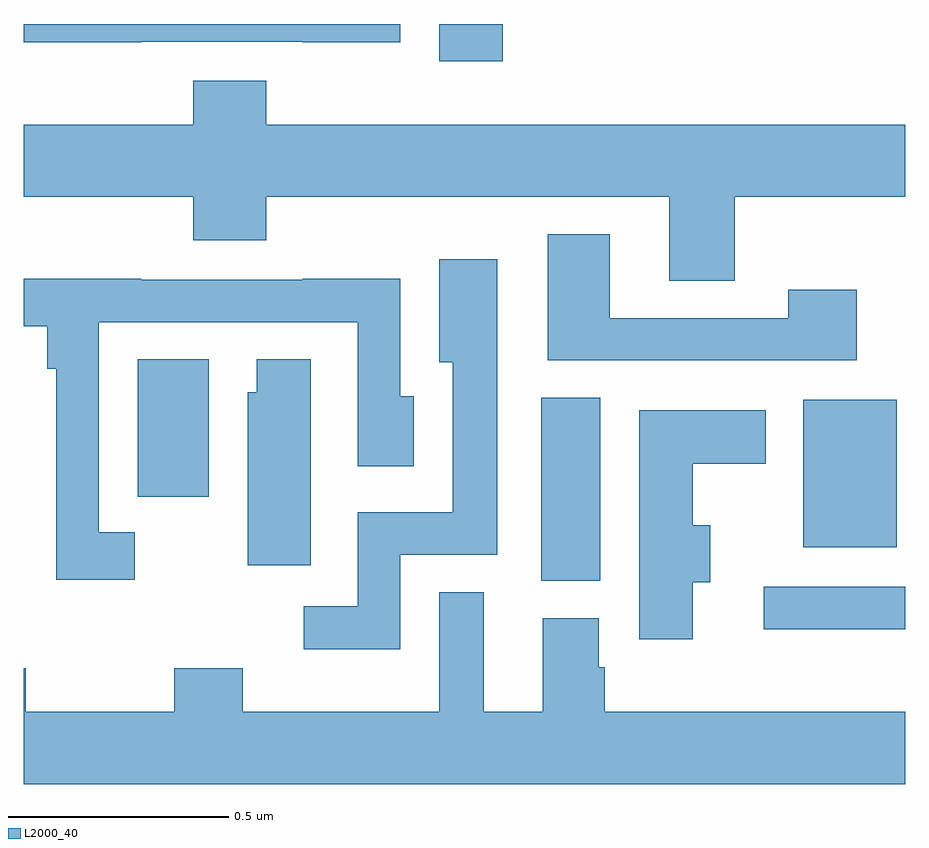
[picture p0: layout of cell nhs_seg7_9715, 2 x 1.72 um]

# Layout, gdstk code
import gdstk
lib = gdstk.Library(unit=1e-6, precision=1e-09)
def R(c, l, rs):  # rectangles x0, y0, x1, y1
    for r in rs: c.add(gdstk.rectangle(r[:2], r[2:], *l))
def P(c, l, *ps):  # polygons
    for p in ps: c.add(gdstk.Polygon(p, *l))
L2000_40 = (2000, 40)

nhs_seg7_9715 = lib.new_cell('nhs_seg7_9715')
R(nhs_seg7_9715, L2000_40, [(242.679,1007.627,243,1007.724), (242.174,1007.737,242.308,1008.152), (242.768,1007.813,242.98,1008.148), (241.259,1007.928,241.42,1008.239), (241.943,1008.915,242.087,1009)])
P(nhs_seg7_9715, L2000_40, [(241.267,1008.96),(241.633,1008.96),(241.633,1008.959),(241.854,1008.959),(241.854,1009),(241,1009),(241,1008.959),(241.267,1008.959)],
  [(242.613,1008.608),(243,1008.608),(243,1008.772),(241.55,1008.772),(241.55,1008.871),(241.385,1008.871),(241.385,1008.772),(241,1008.772),(241,1008.608),(241.385,1008.608),(241.385,1008.509),(241.55,1008.509),(241.55,1008.608),(242.465,1008.608),(242.465,1008.418),(242.613,1008.418)],
  [(242.89,1008.397),(242.734,1008.397),(242.734,1008.333),(242.329,1008.333),(242.329,1008.523),(242.189,1008.523),(242.189,1008.237),(242.89,1008.237)],
  [(241.854,1007.796),(242.074,1007.796),(242.074,1008.466),(241.943,1008.466),(241.943,1008.233),(241.973,1008.233),(241.973,1007.892),(241.758,1007.892),(241.758,1007.679),(241.635,1007.679),(241.635,1007.582),(241.854,1007.582)],
  [(241.252,1007.847),(241.17,1007.847),(241.17,1008.324),(241.758,1008.324),(241.758,1007.997),(241.885,1007.997),(241.885,1008.156),(241.854,1008.156),(241.854,1008.422),(241.633,1008.422),(241.633,1008.42),(241.267,1008.42),(241.267,1008.422),(241,1008.422),(241,1008.314),(241.054,1008.314),(241.054,1008.218),(241.074,1008.218),(241.074,1007.739),(241.252,1007.739)],
  [(241.651,1008.239),(241.529,1008.239),(241.529,1008.165),(241.508,1008.165),(241.508,1007.772),(241.651,1007.772)],
  [(242.518,1007.734),(242.557,1007.734),(242.557,1007.863),(242.518,1007.863),(242.518,1008.002),(242.683,1008.002),(242.683,1008.124),(242.396,1008.124),(242.396,1007.604),(242.518,1007.604)],
  [(243,1007.44),(242.318,1007.44),(242.318,1007.541),(242.305,1007.541),(242.305,1007.652),(242.177,1007.652),(242.177,1007.44),(242.044,1007.44),(242.044,1007.711),(241.943,1007.711),(241.943,1007.44),(241.497,1007.44),(241.497,1007.539),(241.342,1007.539),(241.342,1007.44),(241.005,1007.44),(241.005,1007.539),(241,1007.539),(241,1007.276),(243,1007.276)])

lib.write_gds('nhs_seg7_9715.gds')
